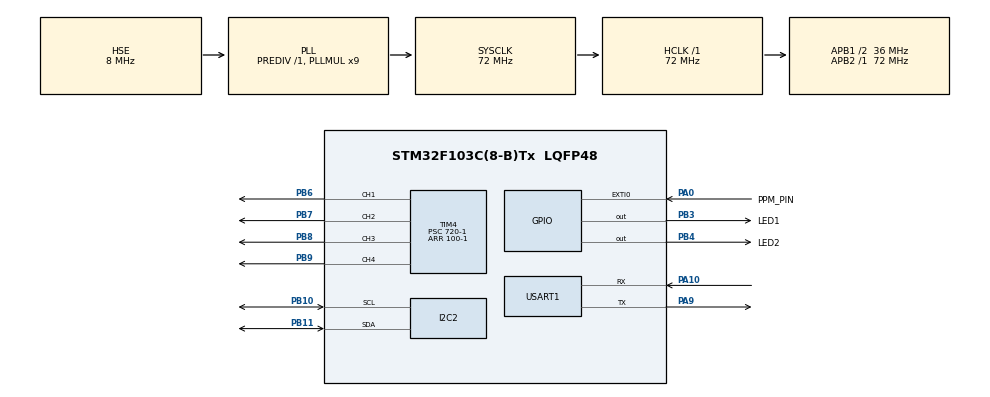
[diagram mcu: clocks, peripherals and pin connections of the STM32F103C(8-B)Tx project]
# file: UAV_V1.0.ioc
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Dma.Request0=USART1_RX
Dma.Request1=USART1_TX
Dma.USART1_RX.0.Direction=DMA_PERIPH_TO_MEMORY
Dma.USART1_RX.0.Instance=DMA1_Channel5
Dma.USART1_RX.0.MemDataAlignment=DMA_MDATAALIGN_BYTE
Dma.USART1_RX.0.MemInc=DMA_MINC_ENABLE
Dma.USART1_RX.0.Mode=DMA_NORMAL
Dma.USART1_RX.0.PeriphDataAlignment=DMA_PDATAALIGN_BYTE
Dma.USART1_RX.0.PeriphInc=DMA_PINC_DISABLE
Dma.USART1_RX.0.Priority=DMA_PRIORITY_MEDIUM
Dma.USART1_TX.1.Direction=DMA_MEMORY_TO_PERIPH
Dma.USART1_TX.1.Instance=DMA1_Channel4
Dma.USART1_TX.1.MemDataAlignment=DMA_MDATAALIGN_BYTE
Dma.USART1_TX.1.MemInc=DMA_MINC_ENABLE
Dma.USART1_TX.1.Mode=DMA_NORMAL
Dma.USART1_TX.1.PeriphDataAlignment=DMA_PDATAALIGN_BYTE
Dma.USART1_TX.1.PeriphInc=DMA_PINC_DISABLE
Dma.USART1_TX.1.Priority=DMA_PRIORITY_LOW
I2C2.DualAddressMode=I2C_DUALADDRESS_DISABLE
I2C2.GeneralCallMode=I2C_GENERALCALL_DISABLE
I2C2.I2C_Mode=I2C_Standard
I2C2.NoStretchMode=I2C_NOSTRETCH_DISABLE
Mcu.Family=STM32F1
Mcu.Name=STM32F103C(8-B)Tx
Mcu.Package=LQFP48
NVIC.DMA1_Channel4_IRQn=true\:0\:0\:false\:false\:true\:false\:true\:true
NVIC.DMA1_Channel5_IRQn=true\:0\:0\:false\:false\:true\:false\:true\:true
NVIC.EXTI0_IRQn=true\:4\:0\:true\:false\:true\:true\:true\:true
NVIC.PriorityGroup=NVIC_PRIORITYGROUP_4
NVIC.USART1_IRQn=true\:6\:0\:true\:false\:true\:true\:true\:true
PA0-WKUP.GPIO_Label=PPM_PIN
PA0-WKUP.GPIO_ModeDefaultEXTI=GPIO_MODE_IT_FALLING
PA0-WKUP.GPIO_PuPd=GPIO_PULLUP
PA0-WKUP.Signal=GPXTI0
PA10.Mode=Asynchronous
PA10.Signal=USART1_RX
PA13.Mode=Serial_Wire
PA13.Signal=SYS_JTMS-SWDIO
PA14.Mode=Serial_Wire
PA14.Signal=SYS_JTCK-SWCLK
PA9.Mode=Asynchronous
PA9.Signal=USART1_TX
PB10.Mode=I2C
PB10.Signal=I2C2_SCL
PB11.Mode=I2C
PB11.Signal=I2C2_SDA
PB3.GPIO_Label=LED1
PB3.GPIO_PuPd=GPIO_PULLDOWN
PB3.Signal=GPIO_Output
PB4.GPIO_Label=LED2
PB4.GPIO_PuPd=GPIO_PULLDOWN
PB4.Signal=GPIO_Output
PB6.Signal=S_TIM4_CH1
PB7.Signal=S_TIM4_CH2
PB8.Signal=S_TIM4_CH3
PB9.Signal=S_TIM4_CH4
PD0-OSC_IN.Mode=HSE-External-Oscillator
PD0-OSC_IN.Signal=RCC_OSC_IN
PD1-OSC_OUT.Mode=HSE-External-Oscillator
PD1-OSC_OUT.Signal=RCC_OSC_OUT
ProjectManager.HeapSize=0x200
ProjectManager.StackSize=0x400
ProjectManager.TargetToolchain=STM32CubeIDE
RCC.ADCPresc=RCC_ADCPCLK2_DIV6
RCC.AHBFreq_Value=72000000
RCC.APB1CLKDivider=RCC_HCLK_DIV2
RCC.APB1Freq_Value=36000000
RCC.APB1TimFreq_Value=72000000
RCC.APB2Freq_Value=72000000
RCC.APB2TimFreq_Value=72000000
RCC.HCLKFreq_Value=72000000
RCC.PLLMUL=RCC_PLL_MUL9
RCC.PLLSourceVirtual=RCC_PLLSOURCE_HSE
RCC.SYSCLKFreq_VALUE=72000000
RCC.SYSCLKSource=RCC_SYSCLKSOURCE_PLLCLK
RCC.USBFreq_Value=72000000
SH.S_TIM4_CH1.0=TIM4_CH1,PWM Generation1 CH1
SH.S_TIM4_CH2.0=TIM4_CH2,PWM Generation2 CH2
SH.S_TIM4_CH3.0=TIM4_CH3,PWM Generation3 CH3
SH.S_TIM4_CH4.0=TIM4_CH4,PWM Generation4 CH4
TIM2.Prescaler=72-1
TIM4.Channel-PWM\ Generation1\ CH1=TIM_CHANNEL_1
TIM4.Channel-PWM\ Generation2\ CH2=TIM_CHANNEL_2
TIM4.Channel-PWM\ Generation3\ CH3=TIM_CHANNEL_3
TIM4.Channel-PWM\ Generation4\ CH4=TIM_CHANNEL_4
TIM4.OC1Preload_PWM=ENABLE
TIM4.Period=100-1
TIM4.Prescaler=720-1
USART1.VirtualMode=VM_ASYNC
VP_TIM2_VS_ClockSourceINT.Mode=Internal
VP_TIM4_VS_ClockSourceINT.Mode=Internal
board=custom

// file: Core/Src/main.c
/* USER CODE BEGIN Header */
/**
  ******************************************************************************
  * @file           : main.c
  * @brief          : Main program body
  ******************************************************************************
  * @attention
  *
  * Copyright (c) 2023 STMicroelectronics.
  * All rights reserved.
  *
  * This software is licensed under terms that can be found in the LICENSE file
  * in the root directory of this software component.
  * If no LICENSE file comes with this software, it is provided AS-IS.
  *
  ******************************************************************************
  */
/* USER CODE END Header */
#include "main.h"
#include "dma.h"
#include "i2c.h"
#include "tim.h"
#include "usart.h"
#include "gpio.h"

/* USER CODE BEGIN Includes */
#include "motor.h"
#include "ppm.h"
#include "uart_debug.h"
#include "control.h"
#include "IMU.h"

/* USER CODE END Includes */

void SystemClock_Config(void);

int main(void)
{

  /* MCU Configuration--------------------------------------------------------*/

  /* Reset of all peripherals, Initializes the Flash interface and the Systick. */
  HAL_Init();

  /* Configure the system clock */
  SystemClock_Config();

  /* Initialize all configured peripherals */
  MX_GPIO_Init();
  MX_DMA_Init();
  MX_TIM4_Init();
  MX_USART1_UART_Init();
  MX_TIM2_Init();
  MX_I2C2_Init();
  /* USER CODE BEGIN 2 */
#if DEBUG_MODE
    // Initialize debug with uart
    Debug_UartIdleITInit();
#endif
    // Initialize Motor
    if (HAL_OK != Motor_Init()) {
        Error_Handler();
    }
    // Initialize PPM parse
    PPM_ParseInit();
    // Initialize gyroscope
    while(MPU6050_Init(Sensor_I2C2_Serch())) {
        LED1_TOGGLE();
        LED2_TOGGLE();
        HAL_Delay(50);
    }

    // Use channel 4 of ppm to unlock motors of UAV
    UAV_UnLock();

  /* USER CODE END 2 */

  /* Infinite loop */
  /* USER CODE BEGIN WHILE */
  while (1)
  {
#if DEBUG_MODE
      Debug_UartDataProcess();
#else
      if (ppm_data._ppm_data_buf[3] >= 1015) {
          uint16_t speed = (uint16_t)(ppm_data._ppm_data_buf[3] - 1015) / 10;
          if (speed >= 20)  speed = 20;
          Motor_SetSpeed(motor_up_right, speed);
          Motor_SetSpeed(motor_down_right, speed);
          Motor_SetSpeed(motor_down_left, speed);
          Motor_SetSpeed(motor_up_left, speed);
      }
#endif
    /* USER CODE END WHILE */

  }
}

void SystemClock_Config(void)
{
  RCC_OscInitTypeDef RCC_OscInitStruct = {0};
  RCC_ClkInitTypeDef RCC_ClkInitStruct = {0};

  /** Initializes the RCC Oscillators according to the specified parameters
  * in the RCC_OscInitTypeDef structure.
  */
  RCC_OscInitStruct.OscillatorType = RCC_OSCILLATORTYPE_HSE;
  RCC_OscInitStruct.HSEState = RCC_HSE_ON;
  RCC_OscInitStruct.HSEPredivValue = RCC_HSE_PREDIV_DIV1;
  RCC_OscInitStruct.HSIState = RCC_HSI_ON;
  RCC_OscInitStruct.PLL.PLLState = RCC_PLL_ON;
  RCC_OscInitStruct.PLL.PLLSource = RCC_PLLSOURCE_HSE;
  RCC_OscInitStruct.PLL.PLLMUL = RCC_PLL_MUL9;
  if (HAL_RCC_OscConfig(&RCC_OscInitStruct) != HAL_OK)
  {
    Error_Handler();
  }

  /** Initializes the CPU, AHB and APB buses clocks
  */
  RCC_ClkInitStruct.ClockType = RCC_CLOCKTYPE_HCLK|RCC_CLOCKTYPE_SYSCLK
                              |RCC_CLOCKTYPE_PCLK1|RCC_CLOCKTYPE_PCLK2;
  RCC_ClkInitStruct.SYSCLKSource = RCC_SYSCLKSOURCE_PLLCLK;
  RCC_ClkInitStruct.AHBCLKDivider = RCC_SYSCLK_DIV1;
  RCC_ClkInitStruct.APB1CLKDivider = RCC_HCLK_DIV2;
  RCC_ClkInitStruct.APB2CLKDivider = RCC_HCLK_DIV1;

  if (HAL_RCC_ClockConfig(&RCC_ClkInitStruct, FLASH_LATENCY_2) != HAL_OK)
  {
    Error_Handler();
  }
}

void Error_Handler(void)
{
  __disable_irq();
  while (1)
  {
  }
}
